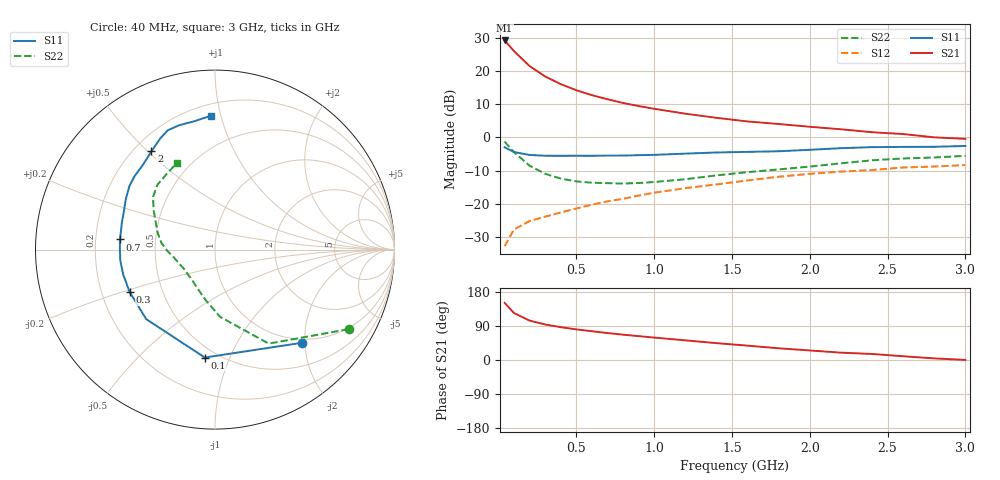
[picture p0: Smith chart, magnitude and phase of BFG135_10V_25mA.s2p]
! Filename:  BFG135B.S2P  Version:  2.0
! Philips part #: BFG135  Date: Jul 1990
! Bias condition: Vce=10V, Ic=25mA
#  MHz  S  MA  R  50
! Freq  S11  S21  S12  S22  !GUM [dB]
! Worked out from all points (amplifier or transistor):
!   21 points, 40 MHz to 3 GHz, reference 50 ohm
!   highest |S21| = 29.2 dB at 40 MHz (marker M1)
!   |S21| within 3 dB of that: start of sweep to 96.67 MHz
!   unconditionally stable (mu >= 1): 573 MHz to end of sweep
!   at 300 MHz: K = 0.77, MSG = 21.1 dB, |S12| = -23.9 dB
!   at 1 GHz: K = 1.09, MAG = 10.8 dB, |S12| = -16.7 dB
!   at 3 GHz: K = 1.01, MAG = 3.3 dB, |S12| = -8.3 dB
!   S11 on the Smith chart (normalised r, x): 40 MHz: 0.93, -1.94; 100 MHz: 0.43, -0.81; 300 MHz: 0.32, -0.21; 700 MHz: 0.31, +0.05; 2 GHz: 0.27, +0.51; 3 GHz: 0.28, +0.93
40  0.71 -47.0  29 150.8  0.023 67.4  0.866 -30.8
100  0.604 -95.4  20.12 124.1  0.041 51.2  0.603 -60.3
200  0.545 -134.7  11.94 104.0  0.055 47.1  0.376 -85.6
300  0.531 -153.5  8.318 93.8  0.064 49.1  0.284 -101.0
400  0.53 -164.8  6.375 86.7  0.074 52.5  0.24 -113.0
500  0.531 -173.4  5.164 80.9  0.085 54.5  0.218 -122.9
600  0.53 180.0  4.346 75.9  0.097 56.3  0.208 -130.7
700  0.533 173.9  3.774 71.2  0.109 58.2  0.205 -137.9
800  0.534 168.8  3.314 66.9  0.119 59.4  0.202 -144.5
900  0.541 163.5  2.981 63.0  0.133 59.7  0.206 -151.6
1000  0.547 158.9  2.707 59.2  0.147 60.3  0.213 -157.6
1200  0.571 150.5  2.286 51.9  0.172 59.8  0.235 -169.8
1400  0.594 143.4  1.979 44.5  0.196 58.6  0.268 -179.0
1600  0.607 137.5  1.745 37.9  0.225 57.8  0.3 173.1
1800  0.62 130.3  1.597 30.9  0.256 53.9  0.33 164.4
2000  0.652 122.9  1.45 25.2  0.283 52.1  0.364 155.2
2200  0.69 116.3  1.33 19.4  0.306 48.8  0.408 147.0
2400  0.715 111.6  1.2 15.9  0.323 47.2  0.453 139.6
2600  0.721 106.0  1.127 9.9  0.353 42.6  0.483 131.7
2800  0.724 99.5  1.005 4.2  0.365 36.8  0.5 122.6
3000  0.745 91.9  0.953 0.2  0.384 34.4  0.528 113.5
